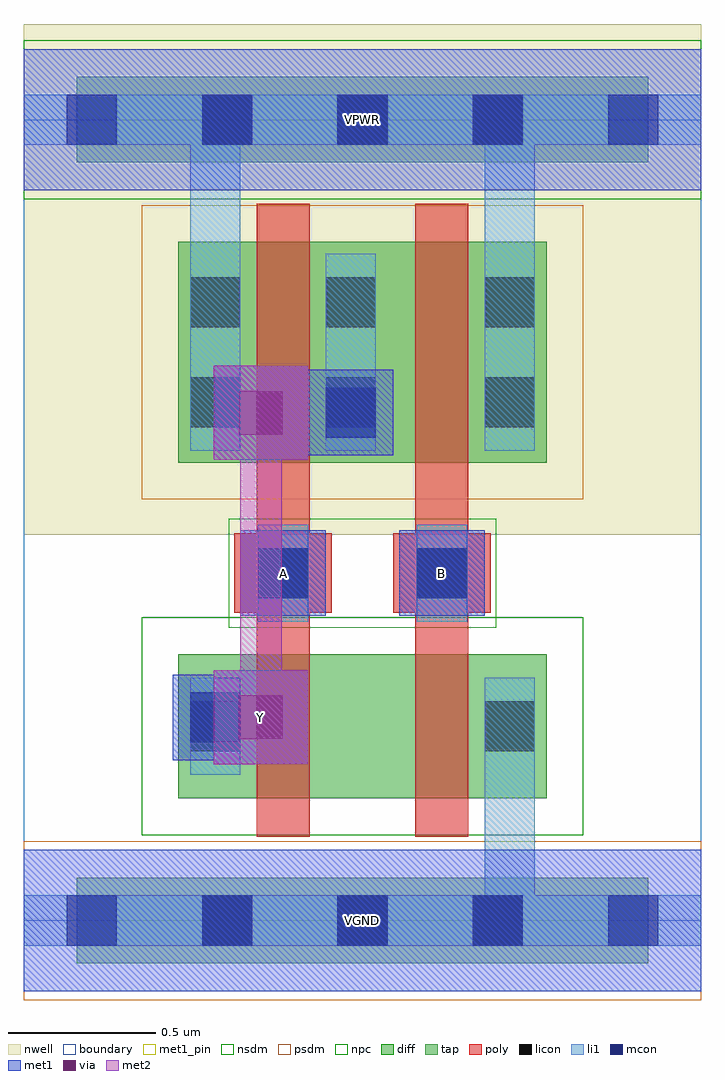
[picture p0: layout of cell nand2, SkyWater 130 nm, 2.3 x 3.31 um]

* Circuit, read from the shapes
.subckt nand2 A B VGND VPWR Y
XM1 n1 A Y VGND sky130_fd_pr__nfet_01v8 w=0.49 l=0.18
XM2 VGND B n1 VGND sky130_fd_pr__nfet_01v8 w=0.49 l=0.18
XM3 Y A VPWR VPWR sky130_fd_pr__pfet_01v8 w=0.75 l=0.18
XM4 VPWR B Y VPWR sky130_fd_pr__pfet_01v8 w=0.75 l=0.18
.ends

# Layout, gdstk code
import gdstk
lib = gdstk.Library(unit=1e-6, precision=1e-09)
def R(c, l, rs):  # rectangles x0, y0, x1, y1
    for r in rs: c.add(gdstk.rectangle(r[:2], r[2:], *l))
def A(c, l, x, y, w, h, nx, ny, dx, dy):  # array of equal rectangles
    R(c, l, [(x+i*dx, y+j*dy, x+i*dx+w, y+j*dy+h) for i in range(nx) for j in range(ny)])
nwell = (64, 20)
diff = (65, 20)
tap = (65, 44)
poly = (66, 20)
licon = (66, 44)
li1 = (67, 20)
mcon = (67, 44)
met1_pin = (68, 16)
met1 = (68, 20)
via = (68, 44)
met2 = (69, 20)
nsdm = (93, 44)
psdm = (94, 20)
npc = (95, 20)
boundary = (235, 4)

nand2 = lib.new_cell('nand2')
R(nand2, nwell, [(0,1.31,2.3,3.045)])
R(nand2, diff, [(0.525,0.415,1.775,0.905), (0.525,1.555,1.775,2.305)])
R(nand2, tap, [(0.18,-0.145,2.12,0.145), (0.18,2.575,2.12,2.865)])
R(nand2, poly, [(0.79,0.285,0.97,2.435), (1.33,0.285,1.51,2.435), (0.715,1.045,1.045,1.315), (1.255,1.045,1.585,1.315)])
A(nand2, licon, 0.605, -0.085, 0.17, 0.17, 3, 2, 0.46, 2.72)
R(nand2, licon, [(0.565,0.575,0.735,0.745), (1.565,0.575,1.735,0.745), (0.795,1.095,0.965,1.265), (1.335,1.095,1.505,1.265), (0.565,1.675,0.735,1.845), (1.025,1.675,1.195,1.845), (1.565,1.675,1.735,1.845), (0.565,2.015,0.735,2.185), (1.025,2.015,1.195,2.185), (1.565,2.015,1.735,2.185)])
R(nand2, li1, [(0,-0.085,2.3,0.085), (1.565,-0.085,1.735,0.825), (0.565,0.495,0.735,0.825), (1.565,0.495,1.735,0.825), (0.795,1.015,0.965,1.345), (1.335,1.015,1.505,1.345), (0.565,1.595,0.735,2.265), (0.565,1.595,0.735,2.805), (1.025,1.595,1.195,2.265), (1.565,1.595,1.735,2.265), (1.565,1.595,1.735,2.805), (0,2.635,2.3,2.805)])
A(nand2, mcon, 0.145, -0.085, 0.17, 0.17, 5, 2, 0.46, 2.72)
R(nand2, mcon, [(0.565,0.605,0.735,0.775), (0.795,1.095,0.965,1.265), (1.335,1.095,1.505,1.265), (1.025,1.64,1.195,1.81)])
R(nand2, met1_pin, [(0,-0.24,2.3,0.24), (0.645,0.53,0.965,0.85), (0.735,1.035,1.025,1.325), (1.275,1.035,1.565,1.325), (0,2.48,2.3,2.96)])
R(nand2, met1, [(0,-0.24,2.3,0.24), (0.645,0.53,0.965,0.85), (0.505,0.545,0.795,0.835), (0.58,0.62,0.875,0.76), (0.735,1.035,1.025,1.325), (1.275,1.035,1.565,1.325), (0.645,1.565,0.965,1.885), (0.965,1.58,1.255,1.87), (0.735,1.655,0.99,1.795), (0.85,1.655,1.18,1.795), (0,2.48,2.3,2.96)])
R(nand2, via, [(0.73,0.615,0.88,0.765), (0.73,1.65,0.88,1.8)])
R(nand2, met2, [(0.645,0.53,0.965,0.85), (0.735,0.62,0.875,1.795), (0.645,1.565,0.965,1.885)])
R(nand2, nsdm, [(0.4,0.29,1.9,1.03), (0,2.45,2.3,2.99)])
R(nand2, psdm, [(0,-0.27,2.3,0.27), (0.4,1.43,1.9,2.43)])
R(nand2, npc, [(0.695,0.995,1.605,1.365)])
R(nand2, boundary, [(0,0,2.3,2.72)])
nand2.add(gdstk.Label('A', (0.88,1.18), layer=68, texttype=5))
nand2.add(gdstk.Label('B', (1.42,1.18), layer=68, texttype=5))
nand2.add(gdstk.Label('Y', (0.805,0.69), layer=68, texttype=5))
nand2.add(gdstk.Label('VPWR', (1.15,2.72), layer=68, texttype=5))
nand2.add(gdstk.Label('VGND', (1.15,0), layer=68, texttype=5))
nand2.add(gdstk.Label('A', (0.88,1.18), layer=68, texttype=16))
nand2.add(gdstk.Label('B', (1.42,1.18), layer=68, texttype=16))
nand2.add(gdstk.Label('Y', (0.805,0.69), layer=68, texttype=16))
nand2.add(gdstk.Label('VPWR', (1.15,2.72), layer=68, texttype=16))
nand2.add(gdstk.Label('VGND', (1.15,0), layer=68, texttype=16))

lib.write_gds('nand2.gds')
